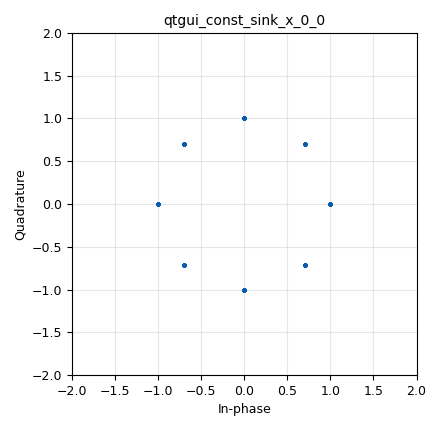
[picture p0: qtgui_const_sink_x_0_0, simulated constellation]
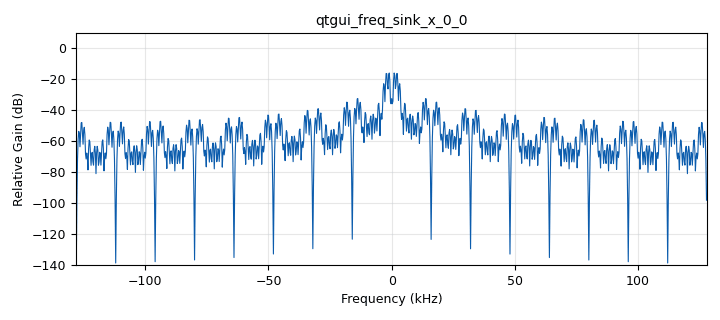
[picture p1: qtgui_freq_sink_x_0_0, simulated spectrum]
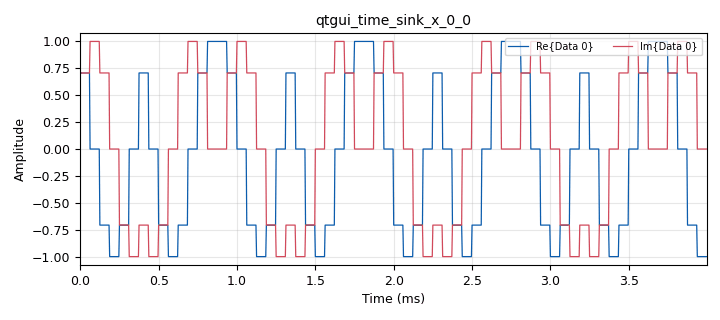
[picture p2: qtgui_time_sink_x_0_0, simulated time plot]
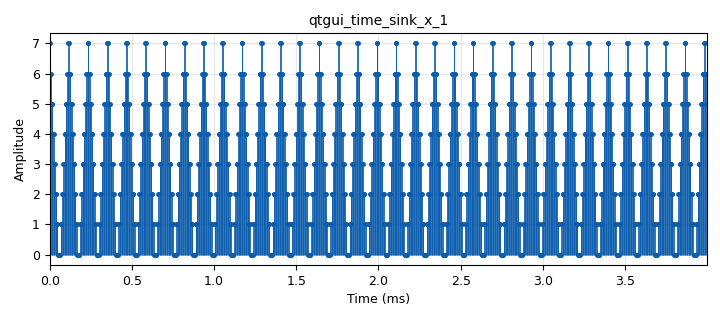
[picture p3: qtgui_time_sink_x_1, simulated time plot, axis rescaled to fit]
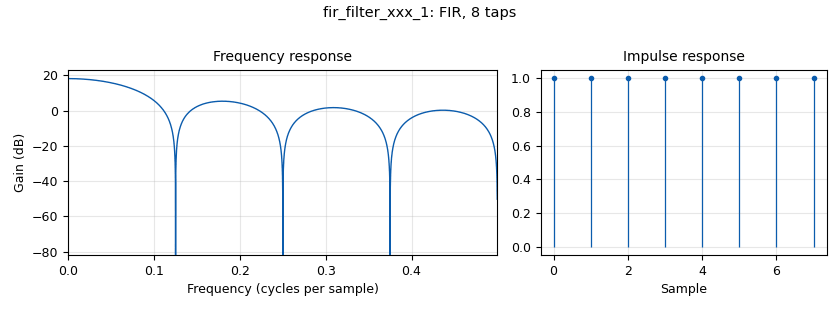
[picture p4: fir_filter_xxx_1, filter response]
options:
  parameters:
    generate_options: qt_gui
    id: QPSTX
    output_language: python
    title: Not titled yet
  states: {}

blocks:
- name: Amp
  id: variable_qtgui_range
  parameters:
    label: A_Noise
    start: '0'
    step: '0.02'
    stop: '1'
    value: '0'
  states: {}
- name: Bit_rate
  id: variable
  parameters:
    value: Rs*bpsim
  states: {}
- name: Bit_rate_0
  id: variable
  parameters:
    value: Rs*bpsim_1
  states: {}
- name: Freq
  id: variable_qtgui_range
  parameters:
    label: Filter Freq
    start: '0'
    step: '1000'
    stop: '200000'
    value: '0'
  states: {}
- name: M
  id: variable
  parameters:
    value: len(tabla_de_verdad)
  states: {}
- name: M_0
  id: variable
  parameters:
    value: len(tabla_de_verdad_2)
  states: {}
- name: Rs
  id: variable
  parameters:
    value: '32000'
  states: {}
- name: Rs_0
  id: variable
  parameters:
    value: '32000'
  states: {}
- name: bpsim
  id: variable
  parameters:
    value: math.log(M,2)
  states: {}
- name: bpsim_1
  id: variable
  parameters:
    value: math.log(M_0,2)
  states: {}
- name: h
  id: variable
  parameters:
    value: '[1]*sps'
  states: {}
- name: samp_rate
  id: variable
  parameters:
    value: sps*Rs
  states: {}
- name: samp_rate_0
  id: variable
  parameters:
    value: sps*Rs
  states: {}
- name: sps
  id: variable
  parameters:
    value: '8'
  states: {}
- name: tabla_de_verdad
  id: variable
  parameters:
    value: (0.77+0.77j,-0.77+0.77j,-0.77-0.77j,0.77-0.77j)
  states: {}
- name: tabla_de_verdad_2
  id: variable
  parameters:
    value: (1,np.sqrt(2)/2+np.sqrt(2)/2*1j,0+1j,-np.sqrt(2)/2+np.sqrt(2)/2*1j,-1,-np.sqrt(2)/2-np.sqrt(2)/2*1j,0-1j,np.sqrt(2)/2-np.sqrt(2)/2*1j)
  states: {}
- name: variable_constellation_0
  id: variable_constellation
  parameters:
    const_points: (1,np.sqrt(2)/2+np.sqrt(2)/2*1j,0+1j,-np.sqrt(2)/2+np.sqrt(2)/2*1j,-1,-np.sqrt(2)/2-np.sqrt(2)/2*1j,0-1j,np.sqrt(2)/2-np.sqrt(2)/2*1j)
    dims: '1'
    normalization: digital.constellation.AMPLITUDE_NORMALIZATION
    precision: '8'
    rot_sym: '4'
    sym_map: '[0, 1, 3, 2, 4, 5, 7, 6]'
    type: calcdist
  states: {}
- name: variable_constellation_1
  id: variable_constellation
  parameters:
    const_points: (0.77+0.77j,-0.77+0.77j,-0.77-0.77j,0.77-0.77j)
    dims: '1'
    normalization: digital.constellation.AMPLITUDE_NORMALIZATION
    precision: '4'
    rot_sym: '4'
    sym_map: '[0, 1, 3, 2]'
    type: calcdist
  states: {}
- name: Menu
  id: qtgui_tab_widget
  parameters:
    label0: QPSK
    label1: 8PSK
    label2: Decod 8PSK
    label3: Decod QPSK
    num_tabs: '4'
  states: {}
- name: an_noise
  id: analog_noise_source_x
  parameters:
    amp: '0.15'
    noise_type: analog.GR_GAUSSIAN
    seed: '0'
    type: complex
  states: {state: disabled}
- name: an_noise_0
  id: analog_noise_source_x
  parameters:
    amp: Amp
    noise_type: analog.GR_GAUSSIAN
    seed: '0'
    type: complex
  states: {}
- name: audio_sink_0
  id: audio_sink
  parameters:
    samp_rate: samp_rate
  states: {}
- name: blocks_add_xx_0
  id: blocks_add_xx
  parameters:
    type: complex
  states: {state: disabled}
- name: blocks_add_xx_0_0
  id: blocks_add_xx
  parameters:
    type: complex
  states: {}
- name: blocks_char_to_float_1
  id: blocks_char_to_float
  parameters:
    scale: '10'
  states: {}
- name: blocks_char_to_float_1_0
  id: blocks_char_to_float
  parameters:
    scale: '1'
  states: {}
- name: blocks_float_to_char_0
  id: blocks_float_to_char
  parameters:
    scale: '10'
  states: {}
- name: blocks_multiply_const_vxx_0
  id: blocks_multiply_const_vxx
  parameters:
    const: '1'
    type: float
  states: {}
- name: blocks_packed_to_unpacked_xx_0
  id: blocks_packed_to_unpacked_xx
  parameters:
    bits_per_chunk: '2'
    endianness: gr.GR_MSB_FIRST
    type: byte
  states: {}
- name: blocks_unpacked_to_packed_xx_1
  id: blocks_unpacked_to_packed_xx
  parameters:
    bits_per_chunk: '2'
    endianness: gr.GR_MSB_FIRST
    type: byte
  states: {}
- name: blocks_unpacked_to_packed_xx_1_0
  id: blocks_unpacked_to_packed_xx
  parameters:
    bits_per_chunk: '8'
    endianness: gr.GR_MSB_FIRST
    type: byte
  states: {}
- name: blocks_vector_source_x_0
  id: blocks_vector_source_x
  parameters:
    repeat: 'True'
    tags: ''
    type: int
    vector: (0,0,1,1,2,2,3,3,4,4,5,5,6,6,7,7,6,6,5,5,4,4,3,3,2,2,1,1,0,0)
  states: {}
- name: blocks_vector_source_x_0_0
  id: blocks_vector_source_x
  parameters:
    repeat: 'True'
    tags: ''
    type: int
    vector: (0,1,2,3)
  states: {state: disabled}
- name: blocks_wavfile_source_0
  id: blocks_wavfile_source
  parameters:
    file: /media/diana/Nuevo vol/USUARIO/1Personal/1 UIS/2023-2/Comunicaciones II/lab4-2/C. Tangana, Ed Maverick - Párteme La Cara.wav
    repeat: 'True'
  states: {}
- name: digital_chunks_to_symbols_xx_0
  id: digital_chunks_to_symbols_xx
  parameters:
    dimension: '1'
    in_type: byte
    out_type: complex
    symbol_table: tabla_de_verdad
  states: {}
- name: digital_chunks_to_symbols_xx_0_0
  id: digital_chunks_to_symbols_xx
  parameters:
    dimension: '1'
    in_type: int
    out_type: complex
    symbol_table: tabla_de_verdad_2
  states: {}
- name: digital_constellation_decoder_cb_0
  id: digital_constellation_decoder_cb
  parameters:
    constellation: variable_constellation_1
  states: {}
- name: digital_constellation_decoder_cb_0_0
  id: digital_constellation_decoder_cb
  parameters:
    constellation: variable_constellation_0
  states: {}
- name: fir_filter_xxx_1
  id: fir_filter_xxx
  parameters:
    decim: '8'
    taps: h
    type: ccc
  states: {}
- name: fir_filter_xxx_1_0
  id: fir_filter_xxx
  parameters:
    decim: '8'
    taps: h
    type: ccc
  states: {}
- name: import_0
  id: import
  parameters:
    imports: import math
  states: {}
- name: import_0_0
  id: import
  parameters:
    imports: import numpy as np
  states: {}
- name: interp_fir_filter_xxx_0
  id: interp_fir_filter_xxx
  parameters:
    interp: '8'
    taps: h
    type: ccc
  states: {}
- name: interp_fir_filter_xxx_0_0
  id: interp_fir_filter_xxx
  parameters:
    interp: sps
    taps: h
    type: ccc
  states: {}
- name: qtgui_const_sink_x_0
  id: qtgui_const_sink_x
  parameters:
    gui_hint: Menu@0:0,0,1,1
    size: '1024'
    type: complex
  states: {state: disabled}
- name: qtgui_const_sink_x_0_0
  id: qtgui_const_sink_x
  parameters:
    gui_hint: Menu@1:0,0,1,1
    size: '1024'
    type: complex
  states: {}
- name: qtgui_const_sink_x_1
  id: qtgui_const_sink_x
  parameters:
    gui_hint: Menu@0:4,0,1,1
    size: '1024'
    type: complex
  states: {}
- name: qtgui_freq_sink_x_0
  id: qtgui_freq_sink_x
  parameters:
    average: '0.05'
    bw: samp_rate
    fc: '0'
    fftsize: '1024'
    gui_hint: Menu@0:3,0,1,1
    type: complex
  states: {}
- name: qtgui_freq_sink_x_0_0
  id: qtgui_freq_sink_x
  parameters:
    average: '0.05'
    bw: samp_rate
    fc: '0'
    fftsize: '1024'
    gui_hint: Menu@1:3,0,1,1
    type: complex
  states: {}
- name: qtgui_time_sink_x_0
  id: qtgui_time_sink_x
  parameters:
    gui_hint: Menu@0:2,0,1,1
    size: '1024'
    srate: samp_rate
    type: complex
  states: {state: disabled}
- name: qtgui_time_sink_x_0_0
  id: qtgui_time_sink_x
  parameters:
    gui_hint: Menu@1:2,0,1,1
    size: '1024'
    srate: samp_rate
    type: complex
  states: {}
- name: qtgui_time_sink_x_1
  id: qtgui_time_sink_x
  parameters:
    gui_hint: Menu@2:1,0,1,1
    marker1: '0'
    size: '1024'
    srate: samp_rate
    stemplot: 'True'
    style1: '3'
    type: float
  states: {}
- name: qtgui_time_sink_x_1_0
  id: qtgui_time_sink_x
  parameters:
    gui_hint: Menu@3:1,0,1,1
    size: '1024'
    srate: samp_rate
    type: float
  states: {}
- name: qtgui_time_sink_x_3
  id: qtgui_time_sink_x
  parameters:
    label1: Sin mod
    size: '1024'
    srate: samp_rate
    type: float
  states: {}
- name: rational_resampler_xxx_0
  id: rational_resampler_xxx
  parameters:
    decim: '44100'
    interp: samp_rate
    type: fff
  states: {}
- name: virtual_sink_0
  id: virtual_sink
  parameters:
    stream_id: p1
  states: {state: disabled}
- name: virtual_sink_0_0
  id: virtual_sink
  parameters:
    stream_id: d1
  states: {}
- name: virtual_sink_1
  id: virtual_sink
  parameters:
    stream_id: p0
  states: {}
- name: virtual_sink_1_0
  id: virtual_sink
  parameters:
    stream_id: d0
  states: {}
- name: virtual_source_0
  id: virtual_source
  parameters:
    stream_id: p1
  states: {state: disabled}
- name: virtual_source_0_0
  id: virtual_source
  parameters:
    stream_id: d1
  states: {}
- name: virtual_source_1
  id: virtual_source
  parameters:
    stream_id: p0
  states: {}
- name: virtual_source_1_0
  id: virtual_source
  parameters:
    stream_id: d1
  states: {}

connections:
- [an_noise, '0', blocks_add_xx_0, '1']
- [an_noise_0, '0', blocks_add_xx_0_0, '1']
- [blocks_add_xx_0, '0', virtual_sink_0, '0']
- [blocks_add_xx_0_0, '0', virtual_sink_0_0, '0']
- [blocks_char_to_float_1, '0', audio_sink_0, '0']
- [blocks_char_to_float_1, '0', qtgui_time_sink_x_1_0, '0']
- [blocks_char_to_float_1_0, '0', qtgui_time_sink_x_1, '0']
- [blocks_float_to_char_0, '0', blocks_packed_to_unpacked_xx_0, '0']
- [blocks_multiply_const_vxx_0, '0', rational_resampler_xxx_0, '0']
- [blocks_packed_to_unpacked_xx_0, '0', digital_chunks_to_symbols_xx_0, '0']
- [blocks_unpacked_to_packed_xx_1, '0', blocks_char_to_float_1, '0']
- [blocks_unpacked_to_packed_xx_1_0, '0', blocks_char_to_float_1_0, '0']
- [blocks_vector_source_x_0, '0', digital_chunks_to_symbols_xx_0_0, '0']
- [blocks_vector_source_x_0_0, '0', digital_chunks_to_symbols_xx_0, '0']
- [blocks_wavfile_source_0, '0', blocks_multiply_const_vxx_0, '0']
- [digital_chunks_to_symbols_xx_0, '0', interp_fir_filter_xxx_0, '0']
- [digital_chunks_to_symbols_xx_0_0, '0', interp_fir_filter_xxx_0_0, '0']
- [digital_constellation_decoder_cb_0, '0', blocks_unpacked_to_packed_xx_1, '0']
- [digital_constellation_decoder_cb_0_0, '0', blocks_unpacked_to_packed_xx_1_0, '0']
- [fir_filter_xxx_1, '0', digital_constellation_decoder_cb_0, '0']
- [fir_filter_xxx_1_0, '0', digital_constellation_decoder_cb_0_0, '0']
- [interp_fir_filter_xxx_0, '0', blocks_add_xx_0, '0']
- [interp_fir_filter_xxx_0, '0', virtual_sink_1, '0']
- [interp_fir_filter_xxx_0_0, '0', blocks_add_xx_0_0, '0']
- [interp_fir_filter_xxx_0_0, '0', virtual_sink_1_0, '0']
- [rational_resampler_xxx_0, '0', blocks_float_to_char_0, '0']
- [rational_resampler_xxx_0, '0', qtgui_time_sink_x_3, '0']
- [virtual_source_0, '0', qtgui_const_sink_x_0, '0']
- [virtual_source_0, '0', qtgui_time_sink_x_0, '0']
- [virtual_source_0_0, '0', qtgui_const_sink_x_0_0, '0']
- [virtual_source_0_0, '0', qtgui_time_sink_x_0_0, '0']
- [virtual_source_1, '0', fir_filter_xxx_1, '0']
- [virtual_source_1, '0', qtgui_const_sink_x_1, '0']
- [virtual_source_1, '0', qtgui_freq_sink_x_0, '0']
- [virtual_source_1_0, '0', fir_filter_xxx_1_0, '0']
- [virtual_source_1_0, '0', qtgui_freq_sink_x_0_0, '0']

metadata:
  file_format: 1
